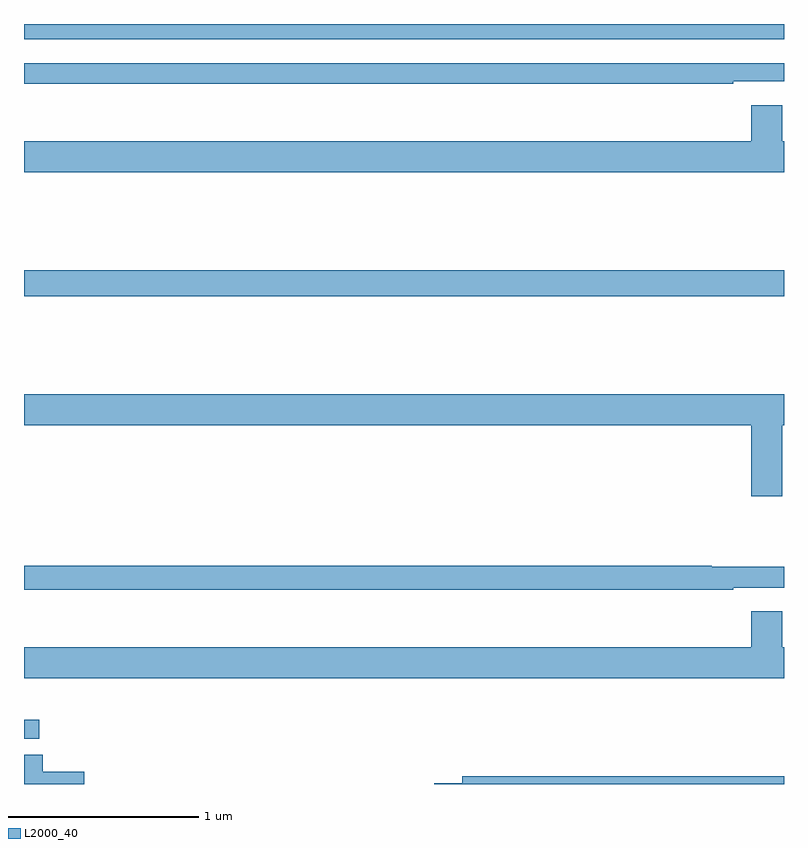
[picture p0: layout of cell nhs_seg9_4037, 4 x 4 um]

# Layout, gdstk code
import gdstk
lib = gdstk.Library(unit=1e-6, precision=1e-09)
def R(c, l, rs):  # rectangles x0, y0, x1, y1
    for r in rs: c.add(gdstk.rectangle(r[:2], r[2:], *l))
def P(c, l, *ps):  # polygons
    for p in ps: c.add(gdstk.Polygon(p, *l))
L2000_40 = (2000, 40)

nhs_seg9_4037 = lib.new_cell('nhs_seg9_4037')
R(nhs_seg9_4037, L2000_40, [(341,1226.739,341.08,1226.838), (341,1229.068,345,1229.204), (341,1230.42,345,1230.5)])
P(nhs_seg9_4037, L2000_40, [(344.732,1230.198),(345,1230.198),(345,1230.294),(341,1230.294),(341,1230.186),(344.732,1230.186)],
  [(345,1229.884),(344.992,1229.884),(344.992,1230.073),(344.828,1230.073),(344.828,1229.884),(341,1229.884),(341,1229.72),(345,1229.72)],
  [(344.992,1228.388),(345,1228.388),(345,1228.552),(341,1228.552),(341,1228.388),(344.828,1228.388),(344.828,1228.014),(344.992,1228.014)],
  [(344.732,1227.534),(345,1227.534),(345,1227.643),(344.62,1227.643),(344.62,1227.65),(341,1227.65),(341,1227.522),(344.732,1227.522)],
  [(345,1227.22),(344.992,1227.22),(344.992,1227.409),(344.828,1227.409),(344.828,1227.22),(341,1227.22),(341,1227.056),(345,1227.056)],
  [(341.317,1226.564),(341.099,1226.564),(341.099,1226.654),(341,1226.654),(341,1226.5),(341.317,1226.5)],
  [(345,1226.54),(343.307,1226.54),(343.307,1226.504),(343.158,1226.504),(343.158,1226.5),(345,1226.5)])

lib.write_gds('nhs_seg9_4037.gds')
